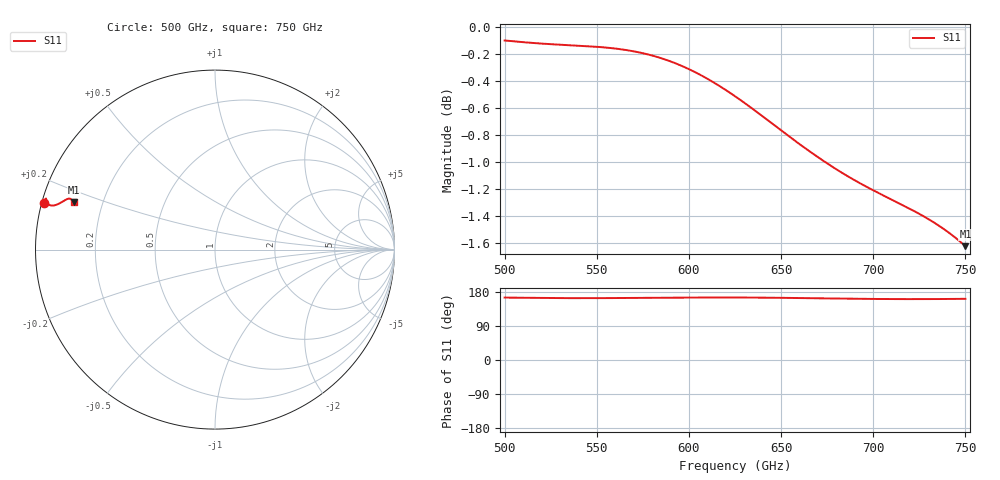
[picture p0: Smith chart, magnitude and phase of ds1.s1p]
# GHz S RI R 50.0
!freq	ReS11	ImS11
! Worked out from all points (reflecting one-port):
!   401 points, 500 GHz to 750 GHz, reference 50 ohm
!   lowest |S11| = -1.6 dB at 750 GHz (marker M1), VSWR 10.74, Z = 4.78 + j8.09 ohm
!   phase of S11 starts at 165 deg and turns -3 deg over the sweep
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500  -0.9532 0.2613
519.375  -0.9461 0.2769
525.625  -0.9443 0.2807
531.25  -0.9431 0.2831
538.75  -0.942 0.2847
546.25  -0.9414 0.2843
553.75  -0.9411 0.2824
562.5  -0.9408 0.2783
579.375  -0.9387 0.2675
593.75  -0.9338 0.2576
601.875  -0.9294 0.2528
610  -0.9237 0.249
617.5  -0.9174 0.2465
625  -0.9101 0.2453
632.5  -0.9019 0.2455
640  -0.8931 0.2469
647.5  -0.8837 0.2497
656.25  -0.8725 0.2544
674.375  -0.85 0.2667
687.5  -0.8352 0.2755
696.25  -0.8266 0.2802
703.75  -0.82 0.2829
711.25  -0.8142 0.2842
718.75  -0.8089 0.2839
726.25  -0.8039 0.2818
733.75  -0.7989 0.2781
741.25  -0.7936 0.2725
750  -0.7866 0.2638
